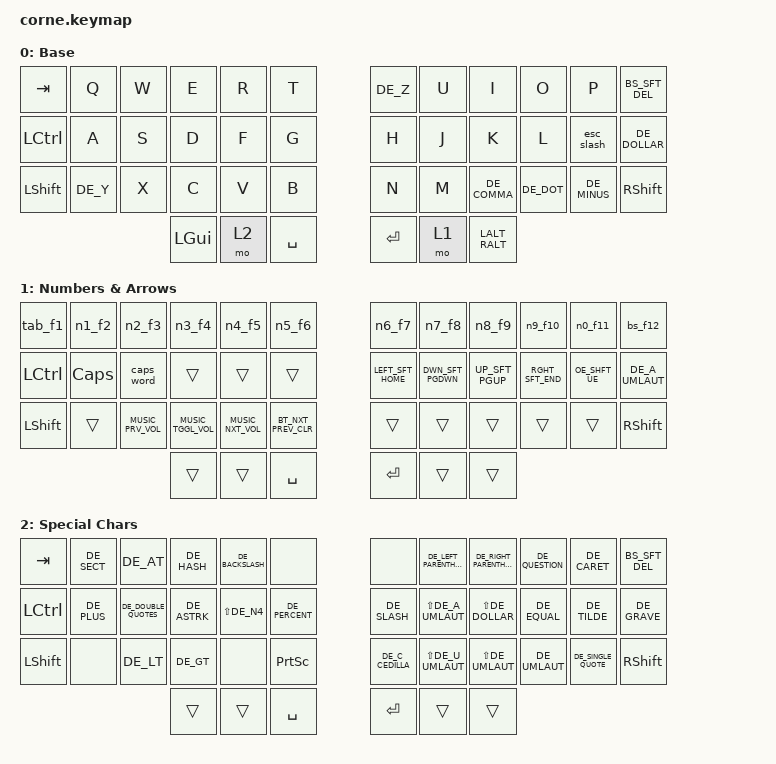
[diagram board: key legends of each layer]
/*
 * Copyright (c) 2020 The ZMK Contributors
 *
 * SPDX-License-Identifier: MIT
 */

#include "keys_de_swiss.h"
#include <behaviors.dtsi>
#include <dt-bindings/zmk/bt.h>
#include <dt-bindings/zmk/keys.h>

&mt { tapping-term-ms = <150>; };

&caps_word {
    continue-list = <BACKSPACE DELETE SLASH QUESTION>;
    mods = <(MOD_LSFT|MOD_RSFT)>;
};

/ {
    behaviors {
        n1_f2: n1_f2 {
            compatible = "zmk,behavior-mod-morph";
            bindings = <&kp DE_N1>, <&kp F2>;

            #binding-cells = <0>;
            mods = <(MOD_LSFT|MOD_RSFT)>;
        };

        n2_f3: n2_f3 {
            compatible = "zmk,behavior-mod-morph";
            bindings = <&kp DE_N2>, <&kp F3>;

            #binding-cells = <0>;
            mods = <(MOD_LSFT|MOD_RSFT)>;
        };

        n3_f4: n3_f4 {
            compatible = "zmk,behavior-mod-morph";
            bindings = <&kp DE_N3>, <&kp F4>;

            #binding-cells = <0>;
            mods = <(MOD_LSFT|MOD_RSFT)>;
        };

        n4_f5: n4_f5 {
            compatible = "zmk,behavior-mod-morph";
            bindings = <&kp DE_N4>, <&kp F5>;

            #binding-cells = <0>;
            mods = <(MOD_LSFT|MOD_RSFT)>;
        };

        n5_f6: n5_f6 {
            compatible = "zmk,behavior-mod-morph";
            bindings = <&kp DE_N5>, <&kp F6>;

            #binding-cells = <0>;
            mods = <(MOD_LSFT|MOD_RSFT)>;
        };

        n6_f7: n6_f7 {
            compatible = "zmk,behavior-mod-morph";
            bindings = <&kp DE_N6>, <&kp F7>;

            #binding-cells = <0>;
            mods = <(MOD_LSFT|MOD_RSFT)>;
        };

        n7_f8: n7_f8 {
            compatible = "zmk,behavior-mod-morph";
            bindings = <&kp DE_N7>, <&kp F8>;

            #binding-cells = <0>;
            mods = <(MOD_LSFT|MOD_RSFT)>;
        };

        n8_f9: n8_f9 {
            compatible = "zmk,behavior-mod-morph";
            bindings = <&kp DE_N8>, <&kp F9>;

            #binding-cells = <0>;
            mods = <(MOD_LSFT|MOD_RSFT)>;
        };

        n9_f10: n9_f10 {
            compatible = "zmk,behavior-mod-morph";
            bindings = <&kp DE_N9>, <&kp F10>;

            #binding-cells = <0>;
            mods = <(MOD_LSFT|MOD_RSFT)>;
        };

        n0_f11: n0_f11 {
            compatible = "zmk,behavior-mod-morph";
            bindings = <&kp DE_N0>, <&kp F11>;

            #binding-cells = <0>;
            mods = <(MOD_LSFT|MOD_RSFT)>;
        };

        bs_f12: bs_f12 {
            compatible = "zmk,behavior-mod-morph";
            bindings = <&kp BACKSPACE>, <&kp F12>;

            #binding-cells = <0>;
            mods = <(MOD_LSFT|MOD_RSFT)>;
        };

        tab_f1: tab_f1 {
            compatible = "zmk,behavior-mod-morph";
            bindings = <&kp TAB>, <&kp F1>;

            #binding-cells = <0>;
            mods = <(MOD_LSFT|MOD_RSFT)>;
        };

        BT_NXT_PREV_CLR: BT_NXT_PREV_CLR {
            compatible = "zmk,behavior-mod-morph";
            bindings = <&bt BT_NXT>, <&BT_PREV_CLR>;

            #binding-cells = <0>;
            mods = <(MOD_RSFT|MOD_LSFT)>;
        };

        MUSIC_NXT_VOL: MUSIC_NXT_VOL {
            compatible = "zmk,behavior-mod-morph";
            bindings = <&kp C_NEXT>, <&kp C_VOLUME_UP>;

            #binding-cells = <0>;
            mods = <(MOD_LSFT|MOD_RSFT)>;
        };

        esc_slash: esc_slash {
            compatible = "zmk,behavior-mod-morph";
            bindings = <&kp ESC>, <&kp LS(DE_O_UMLAUT)>;

            #binding-cells = <0>;
            mods = <(MOD_LSFT|MOD_RSFT)>;
        };

        BS_SFT_DEL: BS_SFT_DEL {
            compatible = "zmk,behavior-mod-morph";
            bindings = <&kp BACKSPACE>, <&kp DELETE>;

            #binding-cells = <0>;
            mods = <(MOD_LSFT|MOD_RSFT)>;
        };

        LALT_RALT: LALT_RALT {
            compatible = "zmk,behavior-tap-dance";
            #binding-cells = <0>;
            bindings = <&kp LEFT_ALT>, <&kp RIGHT_ALT>;
        };

        MUSIC_PRV_VOL: MUSIC_PRV_VOL {
            compatible = "zmk,behavior-mod-morph";
            bindings = <&kp C_PREVIOUS>, <&kp C_VOLUME_DOWN>;

            #binding-cells = <0>;
            mods = <(MOD_LSFT|MOD_RSFT)>;
        };

        MUSIC_TGGL_VOL: MUSIC_TGGL_VOL {
            compatible = "zmk,behavior-mod-morph";
            bindings = <&kp C_PLAY_PAUSE>, <&kp K_MUTE>;

            #binding-cells = <0>;
            mods = <(MOD_LSFT|MOD_RSFT)>;
        };

        BT_PREV_CLR: BT_PREV_CLR {
            compatible = "zmk,behavior-mod-morph";
            bindings = <&bt BT_PRV>, <&bt BT_CLR>;

            #binding-cells = <0>;
            mods = <(MOD_LALT|MOD_RALT)>;
        };

        OE_SHFT_UE: OE_SHFT_UE {
            compatible = "zmk,behavior-mod-morph";
            bindings = <&kp DE_O_UMLAUT>, <&kp DE_U_UMLAUT>;

            #binding-cells = <0>;
            mods = <(MOD_LSFT|MOD_RSFT)>;
        };

        LEFT_SFT_HOME: LEFT_SFT_HOME {
            compatible = "zmk,behavior-mod-morph";
            bindings = <&kp LEFT>, <&kp HOME>;

            #binding-cells = <0>;
            mods = <(MOD_LSFT|MOD_RSFT)>;
        };

        DWN_SFT_PGDWN: DWN_SFT_PGDWN {
            compatible = "zmk,behavior-mod-morph";
            bindings = <&kp DOWN>, <&kp PAGE_DOWN>;

            #binding-cells = <0>;
            mods = <(MOD_LSFT|MOD_RSFT)>;
        };

        UP_SFT_PGUP: UP_SFT_PGUP {
            compatible = "zmk,behavior-mod-morph";
            bindings = <&kp UP>, <&kp PAGE_UP>;

            #binding-cells = <0>;
            mods = <(MOD_LSFT|MOD_RSFT)>;
        };

        RGHT_SFT_END: RGHT_SFT_END {
            compatible = "zmk,behavior-mod-morph";
            bindings = <&kp RIGHT>, <&kp END>;

            #binding-cells = <0>;
            mods = <(MOD_LSFT|MOD_RSFT)>;
        };
    };

    keymap {
        compatible = "zmk,keymap";

        default_layer {
            // -----------------------------------------------------------------------------------------
            // |  TAB |  Q  |  W  |  E  |  R  |  T  |   |  Z  |  U   |  I  |  O  |  P        | BKSP/DEL |
            // | CTRL |  A  |  S  |  D  |  F  |  G  |   |  H  |  J   |  K  |  L  | ESC/SLASH | $        |
            // | SHFT |  Y  |  X  |  C  |  V  |  B  |   |  N  |  M   |  ,  |  .  |  -        | SHIFT    |
            //                    | GUI | LWR | SPC |   | ENT | RSE  | ALT |

            display-name = "Base";
            bindings = <
&kp TAB         &kp Q     &kp W  &kp E     &kp R  &kp T        &kp DE_Z  &kp U  &kp I         &kp O       &kp P         &BS_SFT_DEL
&kp LCTRL       &kp A     &kp S  &kp D     &kp F  &kp G        &kp H     &kp J  &kp K         &kp L       &esc_slash    &kp DE_DOLLAR
&kp LEFT_SHIFT  &kp DE_Y  &kp X  &kp C     &kp V  &kp B        &kp N     &kp M  &kp DE_COMMA  &kp DE_DOT  &kp DE_MINUS  &kp RSHIFT
                                 &kp LGUI  &mo 2  &kp SPACE    &kp RET   &mo 1  &LALT_RALT
            >;
        };

        lower_layer {
            display-name = "Numbers & Arrows";
            bindings = <
&tab_f1           &n1_f2        &n2_f3          &n3_f4           &n4_f5          &n5_f6              &n6_f7          &n7_f8          &n8_f9        &n9_f10        &n0_f11      &bs_f12
&kp LEFT_CONTROL  &kp CAPSLOCK  &caps_word      &trans           &trans          &trans              &LEFT_SFT_HOME  &DWN_SFT_PGDWN  &UP_SFT_PGUP  &RGHT_SFT_END  &OE_SHFT_UE  &kp DE_A_UMLAUT
&kp LSHFT         &trans        &MUSIC_PRV_VOL  &MUSIC_TGGL_VOL  &MUSIC_NXT_VOL  &BT_NXT_PREV_CLR    &trans          &trans          &trans        &trans         &trans       &kp RIGHT_SHIFT
                                                &trans           &trans          &kp SPACE           &kp RET         &trans          &trans
            >;
        };

        raise_layer {
            display-name = "Special Chars";
            bindings = <
&kp TAB           &kp DE_SECT  &kp DE_AT             &kp DE_HASH   &kp DE_BACKSLASH  &none              &none             &kp DE_LEFT_PARENTHESIS  &kp DE_RIGHT_PARENTHESIS  &kp DE_QUESTION  &kp DE_CARET         &BS_SFT_DEL
&kp LEFT_CONTROL  &kp DE_PLUS  &kp DE_DOUBLE_QUOTES  &kp DE_ASTRK  &kp LS(DE_N4)     &kp DE_PERCENT     &kp DE_SLASH      &kp LS(DE_A_UMLAUT)      &kp LS(DE_DOLLAR)         &kp DE_EQUAL     &kp DE_TILDE         &kp DE_GRAVE
&kp LEFT_SHIFT    &none        &kp DE_LT             &kp DE_GT     &none             &kp PRINTSCREEN    &kp DE_C_CEDILLA  &kp LS(DE_U_UMLAUT)      &kp LS(DE_UMLAUT)         &kp DE_UMLAUT    &kp DE_SINGLE_QUOTE  &kp RIGHT_SHIFT
                                                     &trans        &trans            &kp SPACE          &kp RET           &trans                   &trans
            >;
        };
    };
};
